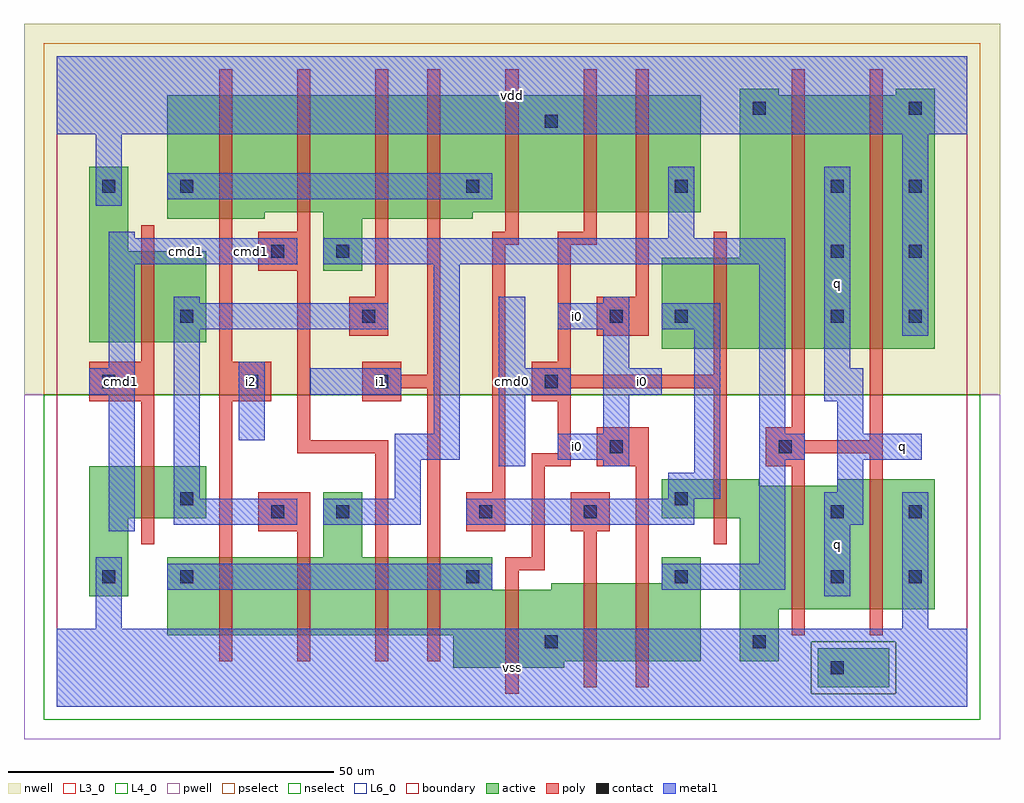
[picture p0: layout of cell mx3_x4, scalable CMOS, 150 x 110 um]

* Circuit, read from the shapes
.subckt mx3_x4 cmd0 cmd1 i0 i1 i2 q vdd vss
M1 n1 cmd1 vss vss nfet w=8u l=2u
M2 n2 i2 n3 vss nfet w=12u l=2u
M3 n4 n1 n2 vss nfet w=12u l=2u
M4 n5 cmd1 n4 vss nfet w=12u l=2u
M5 n3 i1 n5 vss nfet w=12u l=2u
M6 vss cmd0 n3 vss nfet w=12u l=2u
M7 n6 n7 vss vss nfet w=12u l=2u
M8 n4 i0 n6 vss nfet w=12u l=2u
M9 vss cmd0 n7 vss nfet w=6u l=2u
M10 q n4 vss vss nfet w=19u l=2u
M11 vss n4 q vss nfet w=20u l=2u
M12 n1 cmd1 vdd n8 pfet w=14u l=2u
M13 n9 i2 n10 n8 pfet w=19u l=2u
M14 n4 cmd1 n9 n8 pfet w=18u l=2u
M15 n11 n1 n4 n8 pfet w=19u l=2u
M16 n10 i1 n11 n8 pfet w=19u l=2u
M17 vdd n7 n10 n8 pfet w=18u l=2u
M18 n12 cmd0 vdd n8 pfet w=18u l=2u
M19 n4 i0 n12 n8 pfet w=18u l=2u
M20 vdd cmd0 n7 n8 pfet w=14u l=2u
M21 q n4 vdd n8 pfet w=39u l=2u m=2
.ends

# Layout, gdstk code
import gdstk
lib = gdstk.Library(unit=1e-6, precision=1e-09)
def R(c, l, rs):  # rectangles x0, y0, x1, y1
    for r in rs: c.add(gdstk.rectangle(r[:2], r[2:], *l))
def A(c, l, x, y, w, h, nx, ny, dx, dy):  # array of equal rectangles
    R(c, l, [(x+i*dx, y+j*dy, x+i*dx+w, y+j*dy+h) for i in range(nx) for j in range(ny)])
L3_0 = (3, 0)
L4_0 = (4, 0)
L6_0 = (6, 0)
contact = (25, 0)
pwell = (41, 0)
nwell = (42, 0)
active = (43, 0)
pselect = (44, 0)
nselect = (45, 0)
poly = (46, 0)
metal1 = (49, 0)
boundary = (63, 0)

mx3_x4 = lib.new_cell('mx3_x4')
R(mx3_x4, L3_0, [(61,6,78,7), (61,7,99,11), (105,7,111,15), (17,11,99,18), (105,15,135,29), (5,17,11,29), (17,18,67,23), (76,18,99,19), (93,19,99,23), (41,23,47,33), (5,29,23,37), (93,29,135,34), (93,34,108,35), (120,34,135,35)])
R(mx3_x4, L4_0, [(93,55,135,69), (5,56,23,70), (41,67,47,75), (105,69,135,94), (5,70,11,83), (17,75,32,76), (41,75,64,76), (17,76,99,94), (105,94,111,95), (129,94,135,95)])
R(mx3_x4, L6_0, [(117,3,128,9)])
A(mx3_x4, contact, 75, 9, 2, 2, 1, 3, 0, 40)
A(mx3_x4, contact, 7, 19, 2, 2, 1, 3, 0, 30)
A(mx3_x4, contact, 119, 59, 2, 2, 1, 3, 0, 10)
A(mx3_x4, contact, 131, 59, 2, 2, 1, 3, 0, 10)
R(mx3_x4, contact, [(119,5,121,7), (107,9,109,11), (19,19,21,21), (63,19,65,21), (95,19,97,21), (119,19,121,21), (131,19,133,21), (33,29,35,31), (43,29,45,31), (65,29,67,31), (81,29,83,31), (119,29,121,31), (131,29,133,31), (19,31,21,33), (95,31,97,33), (85,39,87,41), (111,39,113,41), (29,49,31,51), (49,49,51,51), (19,59,21,61), (47,59,49,61), (85,59,87,61), (95,59,97,61), (33,69,35,71), (43,69,45,71), (19,79,21,81), (63,79,65,81), (95,79,97,81), (107,91,109,93), (131,91,133,93)])
R(mx3_x4, pwell, [(-5,-5,145,48)])
R(mx3_x4, nwell, [(-5,48,145,105)])
R(mx3_x4, active, [(117,3,128,9), (61,6,78,7), (61,7,99,11), (105,7,111,15), (17,11,99,18), (105,15,135,29), (5,17,11,29), (17,18,67,23), (76,18,99,19), (93,19,99,23), (41,23,47,33), (5,29,23,37), (93,29,135,34), (93,34,108,35), (120,34,135,35), (93,55,135,69), (5,56,23,70), (41,67,47,75), (105,69,135,94), (5,70,11,83), (17,75,32,76), (41,75,64,76), (17,76,99,94), (105,94,111,95), (129,94,135,95)])
R(mx3_x4, pselect, [(116,2,129,10), (-2,48,142,102)])
R(mx3_x4, nselect, [(-2,-2,142,2), (-2,2,116,10), (129,2,142,10), (-2,10,142,48)])
R(mx3_x4, poly, [(69,2,71,21), (81,3,83,27), (89,3,91,37), (25,7,27,47), (37,7,39,27), (49,7,51,39), (57,7,59,49), (113,11,115,37), (125,11,127,39), (69,21,75,23), (73,23,75,37), (13,25,15,47), (101,25,103,49), (31,27,39,33), (63,27,69,33), (79,27,85,33), (67,33,69,71), (73,37,79,39), (83,37,91,43), (109,37,115,39), (37,39,51,41), (77,39,79,47), (109,39,127,41), (37,41,39,67), (109,41,115,43), (125,41,127,98), (113,43,115,98), (5,47,15,53), (25,47,33,53), (47,47,53,49), (73,47,79,49), (47,49,59,51), (73,49,103,51), (47,51,53,53), (57,51,59,98), (73,51,79,53), (101,51,103,73), (13,53,15,74), (25,53,27,98), (77,53,79,71), (45,57,51,63), (83,57,91,63), (49,63,51,98), (89,63,91,98), (31,67,39,73), (67,71,71,73), (77,71,83,73), (37,73,39,98), (69,73,71,98), (81,73,83,98)])
R(mx3_x4, metal1, [(0,0,140,12), (6,12,10,23), (130,12,134,33), (118,17,122,28), (17,18,67,22), (93,18,112,22), (108,22,112,38), (8,27,12,48), (18,28,37,32), (41,28,56,32), (63,28,98,32), (118,28,124,33), (18,32,22,58), (52,32,56,38), (94,32,102,36), (120,33,124,38), (98,36,102,58), (68,37,72,48), (84,37,88,38), (52,38,62,42), (77,38,88,42), (108,38,115,42), (120,38,133,42), (28,41,32,53), (58,42,62,68), (84,42,88,48), (108,42,112,68), (120,42,124,47), (118,47,124,52), (5,48,12,52), (39,48,53,52), (68,48,79,52), (84,48,93,52), (8,52,12,68), (68,52,72,63), (84,52,88,58), (118,52,122,83), (130,57,134,88), (18,58,51,62), (77,58,88,62), (93,58,102,62), (18,62,22,63), (84,62,88,63), (8,68,37,72), (41,68,112,72), (8,72,12,73), (94,72,98,83), (6,77,10,88), (17,78,67,82), (0,88,140,100)])
R(mx3_x4, boundary, [(0,0,140,100)])
mx3_x4.add(gdstk.Label('cmd1', (10,50), layer=49, texttype=0))
mx3_x4.add(gdstk.Label('cmd1', (20,70), layer=49, texttype=0))
mx3_x4.add(gdstk.Label('i2', (30,50), layer=49, texttype=0))
mx3_x4.add(gdstk.Label('i1', (50,50), layer=49, texttype=0))
mx3_x4.add(gdstk.Label('cmd1', (30,70), layer=49, texttype=0))
mx3_x4.add(gdstk.Label('vss', (70,6), layer=49, texttype=0))
mx3_x4.add(gdstk.Label('i0', (80,40), layer=49, texttype=0))
mx3_x4.add(gdstk.Label('cmd0', (70,50), layer=49, texttype=0))
mx3_x4.add(gdstk.Label('i0', (80,60), layer=49, texttype=0))
mx3_x4.add(gdstk.Label('vdd', (70,94), layer=49, texttype=0))
mx3_x4.add(gdstk.Label('i0', (90,50), layer=49, texttype=0))
mx3_x4.add(gdstk.Label('q', (120,25), layer=49, texttype=0))
mx3_x4.add(gdstk.Label('q', (130,40), layer=49, texttype=0))
mx3_x4.add(gdstk.Label('q', (120,65), layer=49, texttype=0))

lib.write_gds('mx3_x4.gds')
